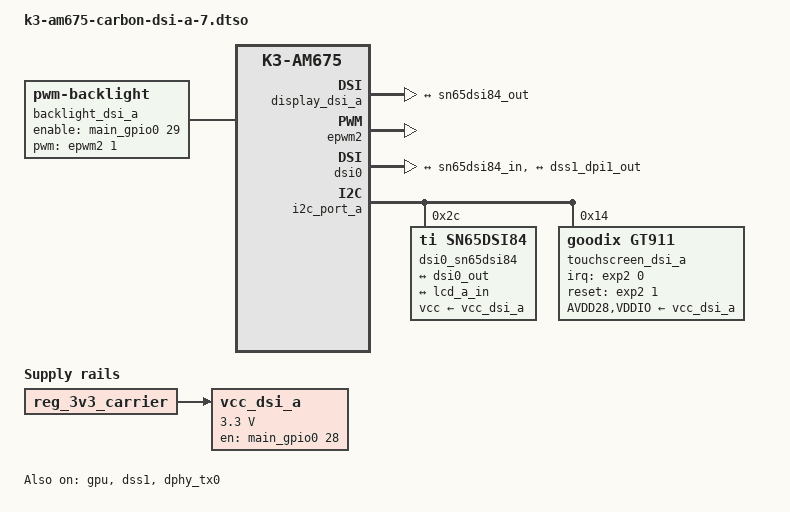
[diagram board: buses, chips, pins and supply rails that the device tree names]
// SPDX-License-Identifier: GPL-2.0-only OR MIT
/*
 * DSI A to DSI Expansion Board with BD070LIC3 display for Carbon AM67x
 *
 * Copyright (C) 2025 Ezurio LLC
 */

/dts-v1/;
/plugin/;

#include <dt-bindings/gpio/gpio.h>
#include <dt-bindings/interrupt-controller/irq.h>
#include <dt-bindings/pwm/pwm.h>
#include "k3-pinctrl.h"

#include "k3-am675-carbon-bd-panel.dtsi"

&{/} {
	backlight_dsi_a: backlight-dsi-a {
		compatible = "pwm-backlight";

		brightness-levels = <0 1 2 3 4 5 6 7 8 9 10>;
		default-brightness-level = <8>;
		pwms = <&epwm2 1 30000 0>; /* 33.3 kHz */

		pinctrl-names = "default";
		pinctrl-0 = <&main_dsi_a_backlight_en_default>;
		enable-gpios = <&main_gpio0 29 GPIO_ACTIVE_HIGH>;
	};

	vcc_dsi_a: regulator-dsi-a {
		compatible = "regulator-fixed";
		regulator-name = "vcc_dsi_a";
		regulator-min-microvolt = <3300000>;
		regulator-max-microvolt = <3300000>;

		vin-supply = <&reg_3v3_carrier>;

		pinctrl-names = "default";
		pinctrl-0 = <&main_dsi_a_power_default>;
		gpios = <&main_gpio0 28 GPIO_ACTIVE_HIGH>;
		enable-active-high;
		startup-delay-us = <20000>;
	};

	display_dsi_a: display-dsi-a {
		compatible = "panel-lvds";
		data-mapping = "vesa-24";

		power-supply = <&vcc_dsi_a>;
		backlight = <&backlight_dsi_a>;

		width-mm = <150>;
		height-mm = <94>;

		panel-timing {
			BD_PANEL_TIMING
		};

		port {
			lcd_a_in: endpoint {
				remote-endpoint = <&sn65dsi84_out>;
			};
		};
	};
};

&epwm2 {
	status = "okay";
};

&gpu {
	status = "okay";
};

&dss1 {
	status = "okay";
};

&dss1_ports {
	#address-cells = <1>;
	#size-cells = <0>;

	/* Video Port 2 Output to DSI */
	port@1 {
		reg = <1>;

		dss1_dpi1_out: endpoint {
			remote-endpoint = <&dsi0_in>;
		};
	};
};

&dphy_tx0 {
	status = "okay";
};

&dsi0 {
	status = "okay";

	#address-cells = <1>;
	#size-cells = <0>;

	ports {
		#address-cells = <1>;
		#size-cells = <0>;

		port@0 {
			reg = <0>;

			dsi0_out: endpoint {
				remote-endpoint = <&sn65dsi84_in>;
			};
		};

		port@1 {
			reg = <1>;

			dsi0_in: endpoint {
				remote-endpoint = <&dss1_dpi1_out>;
			};
		};
	};
};

&i2c_port_a {
	#address-cells = <1>;
	#size-cells = <0>;

	dsi0_sn65dsi84: bridge@2c {
		compatible = "ti,sn65dsi84";
		reg = <0x2c>;
		vcc-supply = <&vcc_dsi_a>;

		ports {
			#address-cells = <1>;
			#size-cells = <0>;

			port@0 {
				reg = <0>;

				sn65dsi84_in: endpoint {
					remote-endpoint = <&dsi0_out>;
					data-lanes = <1 2 3 4>;
				};
			};

			port@2 {
				reg = <2>;

				sn65dsi84_out: endpoint {
					remote-endpoint = <&lcd_a_in>;
				};
			};
		};
	};

	touchscreen_dsi_a: touchscreen-dsi-a@14 {
		compatible = "goodix,gt911";
		reg = <0x14>;

		AVDD28-supply = <&vcc_dsi_a>;
		VDDIO-supply = <&vcc_dsi_a>;

		interrupts-extended = <&exp2 0 IRQ_TYPE_EDGE_FALLING>;
		interrupt-names = "irq";
		irq-gpios = <&exp2 0 (GPIO_ACTIVE_HIGH | GPIO_PULL_UP)>;
		reset-gpios = <&exp2 1 GPIO_ACTIVE_HIGH>;

		touchscreen-min-x = <0>;
		touchscreen-min-y = <0>;
		touchscreen-size-x = <1280>;
		touchscreen-size-y = <800>;
	};
};
